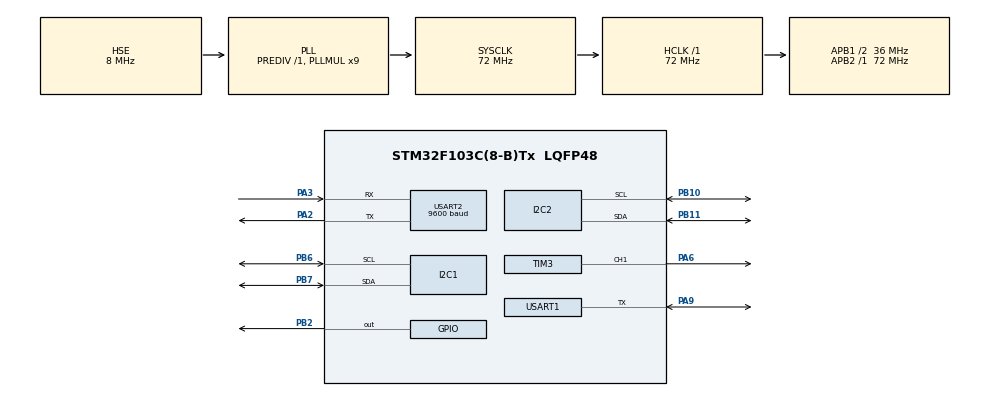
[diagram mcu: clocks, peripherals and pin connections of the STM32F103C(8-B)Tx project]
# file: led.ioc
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Mcu.Family=STM32F1
Mcu.Name=STM32F103C(8-B)Tx
Mcu.Package=LQFP48
NVIC.PriorityGroup=NVIC_PRIORITYGROUP_4
NVIC.USART1_IRQn=true\:0\:0\:false\:false\:true\:true\:true\:true
NVIC.USART2_IRQn=true\:0\:0\:false\:false\:true\:true\:true\:true
PA2.Mode=Asynchronous
PA2.Signal=USART2_TX
PA3.Mode=Asynchronous
PA3.Signal=USART2_RX
PA6.Signal=S_TIM3_CH1
PA9.Mode=Half_duplex(single_wire_mode)
PA9.Signal=USART1_TX
PB10.Mode=I2C
PB10.Signal=I2C2_SCL
PB11.Mode=I2C
PB11.Signal=I2C2_SDA
PB2.Signal=GPIO_Output
PB6.Mode=I2C
PB6.Signal=I2C1_SCL
PB7.Mode=I2C
PB7.Signal=I2C1_SDA
PD0-OSC_IN.Mode=HSE-External-Oscillator
PD0-OSC_IN.Signal=RCC_OSC_IN
PD1-OSC_OUT.Mode=HSE-External-Oscillator
PD1-OSC_OUT.Signal=RCC_OSC_OUT
ProjectManager.HeapSize=0x200
ProjectManager.StackSize=0x400
ProjectManager.TargetToolchain=STM32CubeIDE
RCC.AHBFreq_Value=72000000
RCC.APB1CLKDivider=RCC_HCLK_DIV2
RCC.APB1Freq_Value=36000000
RCC.APB1TimFreq_Value=72000000
RCC.APB2Freq_Value=72000000
RCC.APB2TimFreq_Value=72000000
RCC.HCLKFreq_Value=72000000
RCC.PLLMUL=RCC_PLL_MUL9
RCC.PLLSourceVirtual=RCC_PLLSOURCE_HSE
RCC.SYSCLKFreq_VALUE=72000000
RCC.SYSCLKSource=RCC_SYSCLKSOURCE_PLLCLK
RCC.USBFreq_Value=72000000
SH.S_TIM3_CH1.0=TIM3_CH1,PWM Generation1 CH1
TIM3.Channel-PWM\ Generation1\ CH1=TIM_CHANNEL_1
TIM3.OCMode_PWM-PWM\ Generation1\ CH1=TIM_OCMODE_PWM2
TIM3.Prescaler=28
USART1.VirtualMode=VM_ASYNC
USART2.BaudRate=9600
USART2.VirtualMode=VM_ASYNC
VP_SYS_VS_ND.Mode=No_Debug
board=custom

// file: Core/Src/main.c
/* USER CODE BEGIN Header */
/**
  ******************************************************************************
  * @file           : main.c
  * @brief          : Main program body
  ******************************************************************************
  * @attention
  *
  * Copyright (c) 2026 STMicroelectronics.
  * All rights reserved.
  *
  * This software is licensed under terms that can be found in the LICENSE file
  * in the root directory of this software component.
  * If no LICENSE file comes with this software, it is provided AS-IS.
  *
  ******************************************************************************
  */
/* USER CODE END Header */
#include "main.h"

/* USER CODE BEGIN Includes */
#include "string.h"
#include "OneWire.h"
#include "i2c_lcd.h"
#include "ina226.h"
#include "stdio.h"
/* USER CODE END Includes */

/* USER CODE BEGIN PD */
extern float Temp [MAXDEVICES_ON_THE_BUS];
static volatile  uint8_t speed = 0;
/* USER CODE END PD */

I2C_HandleTypeDef hi2c1;
I2C_HandleTypeDef hi2c2;

TIM_HandleTypeDef htim3;

UART_HandleTypeDef huart1;
UART_HandleTypeDef huart2;

/* USER CODE BEGIN PV */
I2C_LCD_HandleTypeDef lcd1;
/* USER CODE END PV */

void SystemClock_Config(void);
static void MX_GPIO_Init(void);
static void MX_USART1_UART_Init(void);
static void MX_I2C1_Init(void);
static void MX_USART2_UART_Init(void);
static void MX_I2C2_Init(void);
static void MX_TIM3_Init(void);
/* USER CODE BEGIN PFP */
uint8_t recieve_buf[1];
uint8_t buff [20];
uint8_t dataReceived = 0;
uint8_t buff_ne_flag = 0;
/* USER CODE END PFP */

int main(void)
{

  /* MCU Configuration--------------------------------------------------------*/

  /* Reset of all peripherals, Initializes the Flash interface and the Systick. */
  HAL_Init();

  /* Configure the system clock */
  SystemClock_Config();

  /* Initialize all configured peripherals */
  MX_GPIO_Init();
  MX_USART1_UART_Init();
  MX_I2C1_Init();
  MX_USART2_UART_Init();
  MX_I2C2_Init();
  MX_TIM3_Init();
  /* USER CODE BEGIN 2 */
  HAL_Delay (500);
  lcd1.hi2c = &hi2c1;
  lcd1.address = 0x4E;
  lcd_init(&lcd1);
  HAL_Delay (500);
  lcd_clear(&lcd1);
  HAL_Delay (100);
  lcd_puts(&lcd1, "Temp:");
  lcd_gotoxy(&lcd1, 5, 0);
  HAL_TIM_PWM_Start(&htim3, TIM_CHANNEL_1);

  get_ROMid();
  get_Temperature();
  uint32_t time = HAL_GetTick();
  uint32_t led_time = HAL_GetTick ();
  uint8_t acc = 0;
  uint8_t acc_2 = 0;
  uint8_t temp = 0;
  float speed_coeff = 0;
  char str [32];
  char str_0[32];
  HAL_UART_Receive_IT(&huart2, recieve_buf, 1);

  /* USER CODE END 2 */

  /* Infinite loop */
  while (1)
  {

	  if (buff_ne_flag == 1)
	  {
		  if (buff[0] == 97)		//если получили a (ASCII-код: 97) - включаем светодиод и заполняем массив принятых данных нулями
		  	  {
		  		  GPIOB->BSRR = GPIO_BSRR_BS2;
		  		  memset(buff,0,sizeof(buff));
		  		  buff_ne_flag = 0;
		  	  }
		  	  else if (buff[0] == 98)	//если получили b (ASCII-код: 98)- выключаем светодиод и заполняем массив принятых данных нулями
		  	  {
		  		  GPIOB->BSRR = GPIO_BSRR_BR2;
		  		  memset(buff,0,sizeof(buff));
		  		  buff_ne_flag = 0;
		  	  }

	  }

    /* USER CODE BEGIN 3 */
	  if (HAL_GetTick()-led_time >=500)
	  {
		  acc++;
		  acc_2++;
		  if (acc == 100 || acc_2 ==100)
		  {
			acc = 0;
			acc_2 = 0;
			lcd_gotoxy(&lcd1, 0, 1);
			lcd_puts(&lcd1, "          ");
		  }
		  sprintf (str_0,"%dA%dX",acc,acc_2);
		  lcd_gotoxy(&lcd1, 0, 1);
		  lcd_puts(&lcd1, str_0);
		  HAL_UART_Transmit(&huart2,(uint8_t*)str_0,sizeof(str_0), 100);
		  uint8_t newline = 10; // ASCII код для '\n'
		  HAL_UART_Transmit(&huart2, &newline, 1, 10);
		  HAL_UART_Receive_IT(&huart2, recieve_buf, 1);  // костыль для приема данных
		  led_time = HAL_GetTick();

	  }
	  if (HAL_GetTick()-time >=2000)
	  {
		  get_Temperature();
		  //uint8_t t = (uint8_t)Temp[0];
		  temp = (uint8_t)Temp[0];
		  speed_coeff = (temp - 35.0f) / (60.0f - 40.0f);
		  speed_coeff = (speed_coeff < 0.0f) ? 0.0f : (speed_coeff > 1.0f) ? 1.0f : speed_coeff	;

		  speed = (uint8_t)(speed_coeff * 100.0f);
		  TIM3->CCR1 = speed;
		  time = HAL_GetTick();
	  }

  }
  /* USER CODE END 3 */
}

void SystemClock_Config(void)
{
  RCC_OscInitTypeDef RCC_OscInitStruct = {0};
  RCC_ClkInitTypeDef RCC_ClkInitStruct = {0};

  /** Initializes the RCC Oscillators according to the specified parameters
  * in the RCC_OscInitTypeDef structure.
  */
  RCC_OscInitStruct.OscillatorType = RCC_OSCILLATORTYPE_HSE;
  RCC_OscInitStruct.HSEState = RCC_HSE_ON;
  RCC_OscInitStruct.HSEPredivValue = RCC_HSE_PREDIV_DIV1;
  RCC_OscInitStruct.HSIState = RCC_HSI_ON;
  RCC_OscInitStruct.PLL.PLLState = RCC_PLL_ON;
  RCC_OscInitStruct.PLL.PLLSource = RCC_PLLSOURCE_HSE;
  RCC_OscInitStruct.PLL.PLLMUL = RCC_PLL_MUL9;
  if (HAL_RCC_OscConfig(&RCC_OscInitStruct) != HAL_OK)
  {
    Error_Handler();
  }

  /** Initializes the CPU, AHB and APB buses clocks
  */
  RCC_ClkInitStruct.ClockType = RCC_CLOCKTYPE_HCLK|RCC_CLOCKTYPE_SYSCLK
                              |RCC_CLOCKTYPE_PCLK1|RCC_CLOCKTYPE_PCLK2;
  RCC_ClkInitStruct.SYSCLKSource = RCC_SYSCLKSOURCE_PLLCLK;
  RCC_ClkInitStruct.AHBCLKDivider = RCC_SYSCLK_DIV1;
  RCC_ClkInitStruct.APB1CLKDivider = RCC_HCLK_DIV2;
  RCC_ClkInitStruct.APB2CLKDivider = RCC_HCLK_DIV1;

  if (HAL_RCC_ClockConfig(&RCC_ClkInitStruct, FLASH_LATENCY_2) != HAL_OK)
  {
    Error_Handler();
  }
}

static void MX_I2C1_Init(void)
{

  hi2c1.Instance = I2C1;
  hi2c1.Init.ClockSpeed = 100000;
  hi2c1.Init.DutyCycle = I2C_DUTYCYCLE_2;
  hi2c1.Init.OwnAddress1 = 0;
  hi2c1.Init.AddressingMode = I2C_ADDRESSINGMODE_7BIT;
  hi2c1.Init.DualAddressMode = I2C_DUALADDRESS_DISABLE;
  hi2c1.Init.OwnAddress2 = 0;
  hi2c1.Init.GeneralCallMode = I2C_GENERALCALL_DISABLE;
  hi2c1.Init.NoStretchMode = I2C_NOSTRETCH_DISABLE;
  if (HAL_I2C_Init(&hi2c1) != HAL_OK)
  {
    Error_Handler();
  }

}

static void MX_I2C2_Init(void)
{

  hi2c2.Instance = I2C2;
  hi2c2.Init.ClockSpeed = 100000;
  hi2c2.Init.DutyCycle = I2C_DUTYCYCLE_2;
  hi2c2.Init.OwnAddress1 = 0;
  hi2c2.Init.AddressingMode = I2C_ADDRESSINGMODE_7BIT;
  hi2c2.Init.DualAddressMode = I2C_DUALADDRESS_DISABLE;
  hi2c2.Init.OwnAddress2 = 0;
  hi2c2.Init.GeneralCallMode = I2C_GENERALCALL_DISABLE;
  hi2c2.Init.NoStretchMode = I2C_NOSTRETCH_DISABLE;
  if (HAL_I2C_Init(&hi2c2) != HAL_OK)
  {
    Error_Handler();
  }

}

static void MX_TIM3_Init(void)
{

  TIM_MasterConfigTypeDef sMasterConfig = {0};
  TIM_OC_InitTypeDef sConfigOC = {0};

  htim3.Instance = TIM3;
  htim3.Init.Prescaler = 28;
  htim3.Init.CounterMode = TIM_COUNTERMODE_UP;
  htim3.Init.Period = 65535;
  htim3.Init.ClockDivision = TIM_CLOCKDIVISION_DIV1;
  htim3.Init.AutoReloadPreload = TIM_AUTORELOAD_PRELOAD_DISABLE;
  if (HAL_TIM_PWM_Init(&htim3) != HAL_OK)
  {
    Error_Handler();
  }
  sMasterConfig.MasterOutputTrigger = TIM_TRGO_RESET;
  sMasterConfig.MasterSlaveMode = TIM_MASTERSLAVEMODE_DISABLE;
  if (HAL_TIMEx_MasterConfigSynchronization(&htim3, &sMasterConfig) != HAL_OK)
  {
    Error_Handler();
  }
  sConfigOC.OCMode = TIM_OCMODE_PWM2;
  sConfigOC.Pulse = 0;
  sConfigOC.OCPolarity = TIM_OCPOLARITY_HIGH;
  sConfigOC.OCFastMode = TIM_OCFAST_DISABLE;
  if (HAL_TIM_PWM_ConfigChannel(&htim3, &sConfigOC, TIM_CHANNEL_1) != HAL_OK)
  {
    Error_Handler();
  }
  HAL_TIM_MspPostInit(&htim3);

}

static void MX_USART1_UART_Init(void)
{

  huart1.Instance = USART1;
  huart1.Init.BaudRate = 115200;
  huart1.Init.WordLength = UART_WORDLENGTH_8B;
  huart1.Init.StopBits = UART_STOPBITS_1;
  huart1.Init.Parity = UART_PARITY_NONE;
  huart1.Init.Mode = UART_MODE_TX_RX;
  huart1.Init.HwFlowCtl = UART_HWCONTROL_NONE;
  huart1.Init.OverSampling = UART_OVERSAMPLING_16;
  if (HAL_HalfDuplex_Init(&huart1) != HAL_OK)
  {
    Error_Handler();
  }

}

static void MX_USART2_UART_Init(void)
{

  huart2.Instance = USART2;
  huart2.Init.BaudRate = 9600;
  huart2.Init.WordLength = UART_WORDLENGTH_8B;
  huart2.Init.StopBits = UART_STOPBITS_1;
  huart2.Init.Parity = UART_PARITY_NONE;
  huart2.Init.Mode = UART_MODE_TX_RX;
  huart2.Init.HwFlowCtl = UART_HWCONTROL_NONE;
  huart2.Init.OverSampling = UART_OVERSAMPLING_16;
  if (HAL_UART_Init(&huart2) != HAL_OK)
  {
    Error_Handler();
  }

}

static void MX_GPIO_Init(void)
{
  GPIO_InitTypeDef GPIO_InitStruct = {0};

  /* GPIO Ports Clock Enable */
  __HAL_RCC_GPIOD_CLK_ENABLE();
  __HAL_RCC_GPIOA_CLK_ENABLE();
  __HAL_RCC_GPIOB_CLK_ENABLE();

  /*Configure GPIO pin Output Level */
  HAL_GPIO_WritePin(GPIOB, GPIO_PIN_2, GPIO_PIN_RESET);

  /*Configure GPIO pin : PB2 */
  GPIO_InitStruct.Pin = GPIO_PIN_2;
  GPIO_InitStruct.Mode = GPIO_MODE_OUTPUT_PP;
  GPIO_InitStruct.Pull = GPIO_NOPULL;
  GPIO_InitStruct.Speed = GPIO_SPEED_FREQ_LOW;
  HAL_GPIO_Init(GPIOB, &GPIO_InitStruct);

}

/* USER CODE BEGIN 4 */

void HAL_UART_RxCpltCallback(UART_HandleTypeDef *huart) //функция для приема UART в прерывании
{

	if (huart == &huart2)
	{

		HAL_UART_Receive_IT (&huart2, recieve_buf, 1);
		if (recieve_buf[0] == 120 || recieve_buf[0] == 88) // если получаем X или x то, опускаем флаг и обнуляем буфер
		{
			dataReceived = 0;
			recieve_buf [0] = 0;
			return;
		}

		buff[dataReceived] = recieve_buf[0];	 		//при получении полезных данных переписываем их в массив, и обнуляем текущий буфер, крутим счетчик
		recieve_buf [0] = 0;
		buff_ne_flag = 1;								//поднимаем флаг, что буфер не пустой
		dataReceived++;
	}
}

/* USER CODE END 4 */

void Error_Handler(void)
{
  __disable_irq();
  while (1)
  {
  }
}
